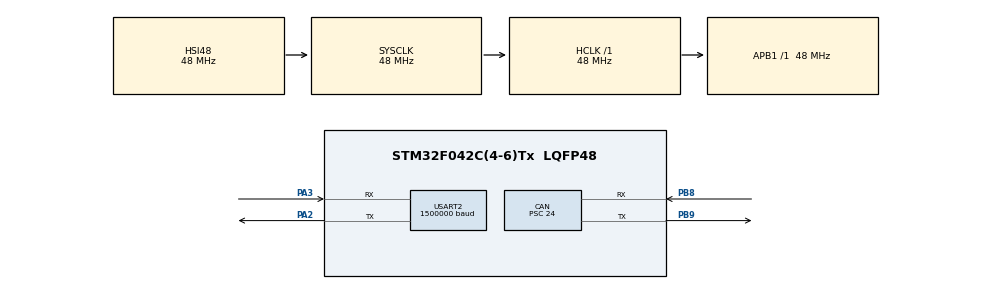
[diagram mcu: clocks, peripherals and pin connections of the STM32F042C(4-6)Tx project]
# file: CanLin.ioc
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CAN.ABOM=ENABLE
CAN.AWUM=ENABLE
CAN.BS1=CAN_BS1_11TQ
CAN.BS2=CAN_BS2_4TQ
CAN.CalculateBaudRate=125000
CAN.CalculateTimeBit=8000
CAN.CalculateTimeQuantum=500.0
CAN.NART=ENABLE
CAN.Prescaler=24
Dma.Request0=USART2_RX
Dma.Request1=USART2_TX
Dma.USART2_RX.0.Direction=DMA_PERIPH_TO_MEMORY
Dma.USART2_RX.0.Instance=DMA1_Channel5
Dma.USART2_RX.0.MemDataAlignment=DMA_MDATAALIGN_BYTE
Dma.USART2_RX.0.MemInc=DMA_MINC_ENABLE
Dma.USART2_RX.0.Mode=DMA_CIRCULAR
Dma.USART2_RX.0.PeriphDataAlignment=DMA_PDATAALIGN_BYTE
Dma.USART2_RX.0.PeriphInc=DMA_PINC_DISABLE
Dma.USART2_RX.0.Priority=DMA_PRIORITY_HIGH
Dma.USART2_TX.1.Direction=DMA_MEMORY_TO_PERIPH
Dma.USART2_TX.1.Instance=DMA1_Channel4
Dma.USART2_TX.1.MemDataAlignment=DMA_MDATAALIGN_BYTE
Dma.USART2_TX.1.MemInc=DMA_MINC_ENABLE
Dma.USART2_TX.1.Mode=DMA_NORMAL
Dma.USART2_TX.1.PeriphDataAlignment=DMA_PDATAALIGN_BYTE
Dma.USART2_TX.1.PeriphInc=DMA_PINC_DISABLE
Dma.USART2_TX.1.Priority=DMA_PRIORITY_HIGH
Mcu.Family=STM32F0
Mcu.Name=STM32F042C(4-6)Tx
Mcu.Package=LQFP48
NVIC.CEC_CAN_IRQn=true\:0\:0\:false\:false\:true\:true\:true\:true
NVIC.DMA1_Channel4_5_IRQn=true\:0\:0\:false\:false\:true\:false\:true\:true
NVIC.USART2_IRQn=true\:0\:0\:false\:false\:true\:true\:true\:true
PA13.Mode=Serial_Wire
PA13.Signal=SYS_SWDIO
PA14.Mode=Serial_Wire
PA14.Signal=SYS_SWCLK
PA2.Mode=Asynchronous
PA2.Signal=USART2_TX
PA3.Mode=Asynchronous
PA3.Signal=USART2_RX
PB8.Mode=CAN_Activate
PB8.Signal=CAN_RX
PB9.Mode=CAN_Activate
PB9.Signal=CAN_TX
ProjectManager.HeapSize=0x200
ProjectManager.StackSize=0x400
ProjectManager.TargetToolchain=STM32CubeIDE
RCC.AHBFreq_Value=48000000
RCC.APB1Freq_Value=48000000
RCC.APB1TimFreq_Value=48000000
RCC.HCLKFreq_Value=48000000
RCC.SYSCLKFreq_VALUE=48000000
RCC.SYSCLKSource=RCC_SYSCLKSOURCE_HSI48
USART2.BaudRate=1500000
USART2.OverSampling=UART_OVERSAMPLING_8
USART2.VirtualMode-Asynchronous=VM_ASYNC
board=custom

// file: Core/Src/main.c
/* USER CODE BEGIN Header */
/**
  ******************************************************************************
  * @file           : main.c
  * @brief          : Main program body
  ******************************************************************************
  * @attention
  *
  * Copyright (c) 2025 STMicroelectronics.
  * All rights reserved.
  *
  * This software is licensed under terms that can be found in the LICENSE file
  * in the root directory of this software component.
  * If no LICENSE file comes with this software, it is provided AS-IS.
  *
  ******************************************************************************
  */
/* USER CODE END Header */
#include "main.h"

/* USER CODE BEGIN Includes */
#include "string.h"
/* USER CODE END Includes */

CAN_HandleTypeDef hcan;

UART_HandleTypeDef huart2;
DMA_HandleTypeDef hdma_usart2_rx;
DMA_HandleTypeDef hdma_usart2_tx;

/* USER CODE BEGIN PV */
CAN_FilterTypeDef       sFilterConfig;
CAN_TxHeaderTypeDef     CanTxHeader;
CAN_RxHeaderTypeDef     CanRxHeader;
/* USER CODE END PV */

void SystemClock_Config(void);
static void MX_GPIO_Init(void);
static void MX_DMA_Init(void);
static void MX_USART2_UART_Init(void);
static void MX_CAN_Init(void);

/* USER CODE BEGIN 0 */
#define PACKET_SIZE 	16
#define RX_BUFFER_SIZE 	32 // 2x Packet Size
#define TX_BUFFER_SIZE 	16
uint8_t 			RxData_Processing[PACKET_SIZE];
uint8_t 			RxData[RX_BUFFER_SIZE];
uint8_t				TxData[TX_BUFFER_SIZE];
uint8_t				TxCpltFull;
uint16_t 			CanErrorCountTx;
uint16_t 			CanErrorCountRx;
uint8_t 			CanTxData[8];
uint8_t 			CanRxData[8];
uint32_t 			CanTxMailbox;
volatile uint8_t 	data_received_flag = 0;

void HAL_UART_RxHalfCpltCallback(UART_HandleTypeDef *huart)
{
    if(huart->Instance == USART2)
    {
        // İlk yarıyı güvenli bir yere kopyala
        memcpy(RxData_Processing, &RxData[0], PACKET_SIZE);
        data_received_flag = 1;
    }
}

// Tam Doldu (32. byte geldiğinde tetiklenir ve başa döner)
void HAL_UART_RxCpltCallback(UART_HandleTypeDef *huart)
{
    if(huart->Instance == USART2)
    {
        // İkinci yarıyı güvenli bir yere kopyala
        memcpy(RxData_Processing, &RxData[PACKET_SIZE], PACKET_SIZE);
        data_received_flag = 1;
    }
}

void HAL_UART_ErrorCallback(UART_HandleTypeDef *huart)
{
    if(huart->Instance == USART2)
    {
        __HAL_UART_CLEAR_OREFLAG(huart);
        __HAL_UART_CLEAR_NEFLAG(huart);
        __HAL_UART_CLEAR_FEFLAG(huart);

        HAL_UART_Receive_DMA(huart, RxData, 16);
    }
}

void HAL_CAN_RxFifo0MsgPendingCallback(CAN_HandleTypeDef *hcan)
{
    //CAN Mesajını Al
    HAL_CAN_GetRxMessage(hcan, CAN_RX_FIFO0, &CanRxHeader, CanRxData);

    //UART Meşgul mü
    if (huart2.gState != HAL_UART_STATE_READY)
    {
        return;
    }

    // BYTE 0: Header, seri porttan gelen veri doğru mu diye uygulama kontrol edecek.
    TxData[0] = 0xAA;

    // BYTE 1: ID Type
    uint32_t tempID;
    if (CanRxHeader.IDE == CAN_ID_EXT)
    {
        TxData[1] = 0x01;        // EXT
        tempID = CanRxHeader.ExtId;
    }
    else
    {
        TxData[1] = 0x00;        // STD
        tempID = CanRxHeader.StdId;
    }

    // BYTE 2-5: ID
    TxData[2] = (tempID >> 24) & 0xFF;
    TxData[3] = (tempID >> 16) & 0xFF;
    TxData[4] = (tempID >> 8)  & 0xFF;
    TxData[5] = (tempID & 0xFF);

    // BYTE 6: DLC
    TxData[6] = CanRxHeader.DLC;

    // BYTE 7-14: Data Payload
    // döngü sabit dlc dışındakiler 0 olacak
    for (uint8_t i = 0; i < 8; i++)
    {
        if (i < CanRxHeader.DLC)
        {
            TxData[7 + i] = CanRxData[i];
        }
        else
        {
            TxData[7 + i] = 0x00; // Kullanılmayan byte'ları temizle
        }
    }

    // BYTE 15: Footer, seri porttan gelen veri doğru mu diye uygulama kontrol edecek.
    TxData[15] = 0x55;
    HAL_UART_Transmit_DMA(&huart2, TxData, 16);
}

void Send_CAN_Message_From_Buffer()
{

    // ID Tipi (Byte 1)
    // 0x01: Extended, 0x00: Standard
    if (RxData_Processing[1] == 0x01)
    {
        CanTxHeader.IDE = CAN_ID_EXT;
        // Big Endian ID Birleştirme (Byte 2,3,4,5)
        CanTxHeader.ExtId = (RxData_Processing[2] << 24) | (RxData_Processing[3] << 16) | (RxData_Processing[4] << 8) | RxData_Processing[5];
        CanTxHeader.StdId = 0;
    }
    else
    {
        CanTxHeader.IDE = CAN_ID_STD;
        // Standart ID 11-bit olduğu için 32-bitlik verinin son 11 biti
        CanTxHeader.StdId = (RxData_Processing[2] << 24) | (RxData_Processing[3] << 16) | (RxData_Processing[4] << 8) | RxData_Processing[5];
        CanTxHeader.ExtId = 0;
    }

    // DLC (Byte 6)
    CanTxHeader.DLC = RxData_Processing[6];
    if(CanTxHeader.DLC > 8) CanTxHeader.DLC = 8; // Güvenlik limiti

    // RTR ve TimeStamp Ayarları
    CanTxHeader.RTR = CAN_RTR_DATA;
    CanTxHeader.TransmitGlobalTime = DISABLE;

    // Veriyi Kopyala (Byte 7 den itibaren)
    for (int i = 0; i < CanTxHeader.DLC; i++)
    {
        CanTxData[i] = RxData_Processing[7 + i];
    }

    // CAN Hattı Müsait mi? (Mailbox Kontrolü)
   HAL_CAN_AddTxMessage(&hcan, &CanTxHeader, CanTxData, &CanTxMailbox);

}

void Set_CAN_BaudRate(uint8_t index)
{
    // Mevcut hızı tut
    static uint8_t current_baud_index = 0;

    // Eğer aynı hız geldiyse işlem yapma
    if (current_baud_index == index) return;

    // 1. CAN Modülünü Durdur
    HAL_CAN_Stop(&hcan);

    // Prescaler Değerini Belirle
    uint32_t prescaler = 0;

    switch (index)
    {
        case 0: // 125 kbps
            prescaler = 24;
            break;
        case 1: // 250 kbps
            prescaler = 12;
            break;
        case 2: // 500 kbps
            prescaler = 6;
            break;
        case 3: // 1 Mbps
            prescaler = 3;
            break;
        default:
            // Hatalı index gelirse varsayılan 500k
            prescaler = 6;
            break;
    }

    hcan.Init.Prescaler = prescaler;

    // 4. Yeniden Init Et
    if (HAL_CAN_Init(&hcan) != HAL_OK)
    {
        // Hata Yönetimi (Örn: LED Yak)
        Error_Handler();
    }

    // 5. CAN'ı Tekrar Başlat
    if (HAL_CAN_Start(&hcan) != HAL_OK)
    {
        // Hata Yönetimi
        Error_Handler();
    }

    // Yeni hızı kaydet
    current_baud_index = index;
}

/* USER CODE END 0 */

int main(void)
{

  /* MCU Configuration--------------------------------------------------------*/

  /* Reset of all peripherals, Initializes the Flash interface and the Systick. */
  HAL_Init();

  /* Configure the system clock */
  SystemClock_Config();

  /* Initialize all configured peripherals */
  MX_GPIO_Init();
  MX_DMA_Init();
  MX_USART2_UART_Init();
  MX_CAN_Init();
  /* USER CODE BEGIN 2 */

  HAL_UART_Receive_DMA(&huart2, RxData, RX_BUFFER_SIZE);
  HAL_UART_Transmit_DMA(&huart2, TxData, 16);
  HAL_CAN_Start(&hcan);
  HAL_CAN_ActivateNotification(&hcan, CAN_IT_RX_FIFO0_MSG_PENDING);
  /* USER CODE END 2 */

  /* Infinite loop */
  /* USER CODE BEGIN WHILE */
  while (1)
  {
	 if(data_received_flag == 1)
	 {
		 if(RxData_Processing[15] == 0x55)
		 {
			 Send_CAN_Message_From_Buffer();
		 }

	      data_received_flag = 0; // Flag'i sıfırla
	 }

	 Set_CAN_BaudRate(RxData_Processing[0]);

    /* USER CODE END WHILE */

  }
}

void SystemClock_Config(void)
{
  RCC_OscInitTypeDef RCC_OscInitStruct = {0};
  RCC_ClkInitTypeDef RCC_ClkInitStruct = {0};

  /** Initializes the RCC Oscillators according to the specified parameters
  * in the RCC_OscInitTypeDef structure.
  */
  RCC_OscInitStruct.OscillatorType = RCC_OSCILLATORTYPE_HSI48;
  RCC_OscInitStruct.HSI48State = RCC_HSI48_ON;
  RCC_OscInitStruct.PLL.PLLState = RCC_PLL_NONE;
  if (HAL_RCC_OscConfig(&RCC_OscInitStruct) != HAL_OK)
  {
    Error_Handler();
  }

  /** Initializes the CPU, AHB and APB buses clocks
  */
  RCC_ClkInitStruct.ClockType = RCC_CLOCKTYPE_HCLK|RCC_CLOCKTYPE_SYSCLK
                              |RCC_CLOCKTYPE_PCLK1;
  RCC_ClkInitStruct.SYSCLKSource = RCC_SYSCLKSOURCE_HSI48;
  RCC_ClkInitStruct.AHBCLKDivider = RCC_SYSCLK_DIV1;
  RCC_ClkInitStruct.APB1CLKDivider = RCC_HCLK_DIV1;

  if (HAL_RCC_ClockConfig(&RCC_ClkInitStruct, FLASH_LATENCY_1) != HAL_OK)
  {
    Error_Handler();
  }
}

static void MX_CAN_Init(void)
{

  hcan.Instance = CAN;
  hcan.Init.Prescaler = 24;
  hcan.Init.Mode = CAN_MODE_NORMAL;
  hcan.Init.SyncJumpWidth = CAN_SJW_1TQ;
  hcan.Init.TimeSeg1 = CAN_BS1_11TQ;
  hcan.Init.TimeSeg2 = CAN_BS2_4TQ;
  hcan.Init.TimeTriggeredMode = DISABLE;
  hcan.Init.AutoBusOff = ENABLE;
  hcan.Init.AutoWakeUp = ENABLE;
  hcan.Init.AutoRetransmission = ENABLE;
  hcan.Init.ReceiveFifoLocked = DISABLE;
  hcan.Init.TransmitFifoPriority = DISABLE;
  if (HAL_CAN_Init(&hcan) != HAL_OK)
  {
    Error_Handler();
  }
  /* USER CODE BEGIN CAN_Init 2 */

  CanTxHeader.RTR 	= 	CAN_RTR_DATA;
  CanTxHeader.DLC 	= 	8;

  sFilterConfig.FilterBank 		= 	0;
  sFilterConfig.FilterMode 		= 	CAN_FILTERMODE_IDMASK;
  sFilterConfig.FilterScale 	= 	CAN_FILTERSCALE_32BIT;

  sFilterConfig.FilterIdHigh 		= 	0x0000;
  sFilterConfig.FilterIdLow 		= 	0x0000;
  sFilterConfig.FilterMaskIdHigh 	= 	0x0000;
  sFilterConfig.FilterMaskIdLow 	= 	0x0000;

  sFilterConfig.FilterFIFOAssignment 	= CAN_RX_FIFO0;
  sFilterConfig.FilterActivation 		= ENABLE;
  sFilterConfig.SlaveStartFilterBank 	= 14;

    if (HAL_CAN_ConfigFilter(&hcan, &sFilterConfig) != HAL_OK)
      {
        Error_Handler();
      }

  /* USER CODE END CAN_Init 2 */

}

static void MX_USART2_UART_Init(void)
{

  huart2.Instance = USART2;
  huart2.Init.BaudRate = 1500000;
  huart2.Init.WordLength = UART_WORDLENGTH_8B;
  huart2.Init.StopBits = UART_STOPBITS_1;
  huart2.Init.Parity = UART_PARITY_NONE;
  huart2.Init.Mode = UART_MODE_TX_RX;
  huart2.Init.HwFlowCtl = UART_HWCONTROL_NONE;
  huart2.Init.OverSampling = UART_OVERSAMPLING_8;
  huart2.Init.OneBitSampling = UART_ONE_BIT_SAMPLE_DISABLE;
  huart2.AdvancedInit.AdvFeatureInit = UART_ADVFEATURE_NO_INIT;
  if (HAL_UART_Init(&huart2) != HAL_OK)
  {
    Error_Handler();
  }

}

static void MX_DMA_Init(void)
{

  /* DMA controller clock enable */
  __HAL_RCC_DMA1_CLK_ENABLE();

  /* DMA interrupt init */
  /* DMA1_Channel4_5_IRQn interrupt configuration */
  HAL_NVIC_SetPriority(DMA1_Channel4_5_IRQn, 0, 0);
  HAL_NVIC_EnableIRQ(DMA1_Channel4_5_IRQn);

}

static void MX_GPIO_Init(void)
{

  /* GPIO Ports Clock Enable */
  __HAL_RCC_GPIOA_CLK_ENABLE();
  __HAL_RCC_GPIOB_CLK_ENABLE();

}

void Error_Handler(void)
{
  __disable_irq();
  while (1)
  {
  }
}
